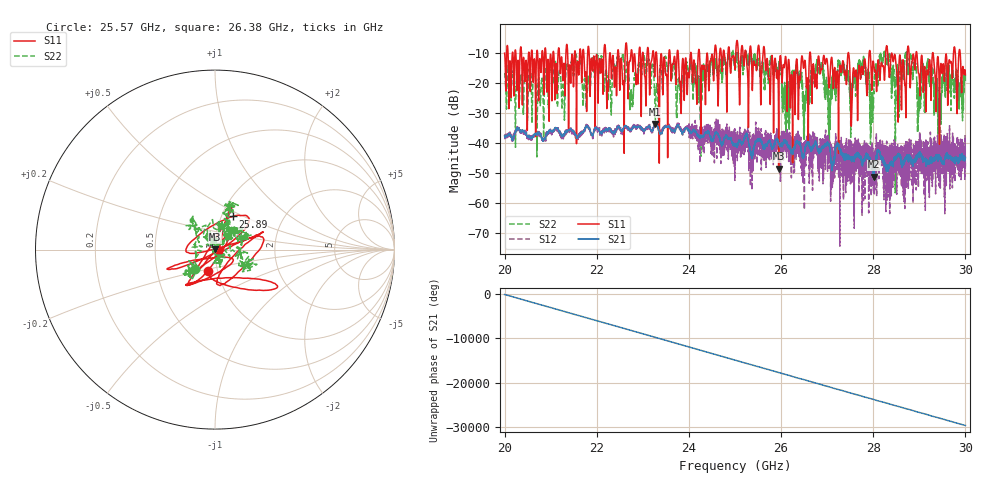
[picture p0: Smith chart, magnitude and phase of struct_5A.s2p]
#  HZ  S  RI  R  50.00
! Rohde & Schwarz ZVA40 4Ports - Version 3.90 - 1145.1110k42 SN: 100403
! Date: 2023-09-21 06:51:35
! Measurements: S11 S21 S12 S22
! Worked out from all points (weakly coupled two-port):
!   5000 points, 20 GHz to 30 GHz, reference 50 ohm
!   highest |S21| = -33.71 dB at 23.27 GHz (marker M1); lowest = -51.2 dB at 28.02 GHz (marker M2)
!   lowest |S11| = -48.6 dB at 25.95 GHz (marker M3), VSWR 1.01, Z = 49.7 + j0.257 ohm
!   |S11| at or under -10 dB: 25.65 GHz to 26.62 GHz (977.2 MHz wide, 3.74 % of centre); 26.64 GHz to 27.46 GHz (818.9 MHz wide, 3.03 % of centre); 27.47 GHz to 27.91 GHz (446.1 MHz wide, 1.61 % of centre) (the widest 3 of 50)
!   |S22| runs from -56.7 to -9.1 dB; largest |S21 - S12| = 0.016
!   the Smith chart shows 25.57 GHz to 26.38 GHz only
!   S11 on the Smith chart (normalised r, x): 25.57 GHz: 0.90, -0.22; 25.89 GHz: 1.13, +0.44; 26.38 GHz: 1.05, +0.00
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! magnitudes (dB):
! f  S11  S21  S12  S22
! 20 GHz  -10.0  -37.8  -37.7  -16.7
! 21.67 GHz  -17.6  -36.7  -36.6  -14.5
! 23.27 GHz  -13.5  -33.7  -34.0  -31.6
! 23.33 GHz  -23.9  -34.9  -35.1  -33.7
! 25 GHz  -15.2  -40.4  -39.2  -15.6
! 25.57 GHz  -18.0  -39.4  -39.4  -16.1
! 25.89 GHz  -13.6  -39.2  -45.2  -13.9
! 25.95 GHz  -48.6  -39.8  -46.1  -15.6
! 26.08 GHz  -13.2  -39.4  -38.9  -24.9
! 26.38 GHz  -32.2  -39.8  -37.3  -19.8
! 26.52 GHz  -12.5  -42.2  -45.4  -29.3
! 26.67 GHz  -26.0  -41.5  -41.7  -15.2
! 27.05 GHz  -20.7  -41.6  -44.0  -35.7
! 27.28 GHz  -14.0  -42.6  -43.9  -13.9
! 28.02 GHz  -15.2  -51.2  -57.0  -21.1
! 28.33 GHz  -15.1  -47.3  -56.5  -11.4
! 28.85 GHz  -11.6  -47.0  -45.1  -17.6
! 28.99 GHz  -17.1  -44.1  -39.3  -22.4
! 29.2 GHz  -14.9  -47.1  -44.6  -16.2
! 29.43 GHz  -22.9  -44.8  -40.0  -30.0
! 29.62 GHz  -27.1  -44.0  -45.3  -13.4
! 30 GHz  -17.3  -44.9  -46.8  -19.4
